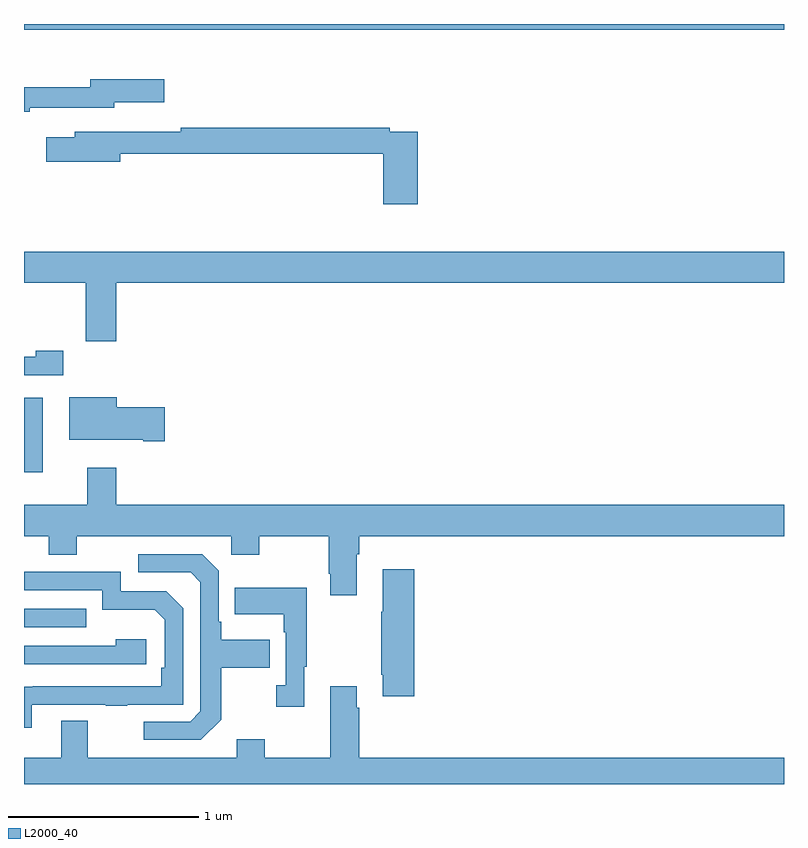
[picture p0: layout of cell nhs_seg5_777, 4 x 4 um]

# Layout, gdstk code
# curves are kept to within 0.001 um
import gdstk
lib = gdstk.Library(unit=1e-6, precision=1e-09)
def R(c, l, rs):  # rectangles x0, y0, x1, y1
    for r in rs: c.add(gdstk.rectangle(r[:2], r[2:], *l))
def P(c, l, *ps):  # polygons
    for p in ps: c.add(gdstk.Polygon(p, *l))
L2000_40 = (2000, 40)

nhs_seg5_777 = lib.new_cell('nhs_seg5_777')
R(nhs_seg5_777, L2000_40, [(161,845.625,161.327,845.721), (161,846.44,161.098,846.832), (161,848.768,165,848.799)])
P(nhs_seg5_777, L2000_40, [(161.03,848.358),(161.476,848.358),(161.476,848.387),(161.737,848.387),(161.737,848.509),(161.348,848.509),(161.348,848.467),(161,848.467),(161,848.338),(161.03,848.338)],
  [(163.073,848.232),(162.926,848.232),(162.926,848.252),(161.824,848.252),(161.824,848.233),(161.267,848.233),(161.267,848.203),(161.118,848.203),(161.118,848.074),(161.506,848.074),(161.506,848.116),(162.89,848.116),(162.89,847.851),(163.073,847.851)],
  [(161.486,847.436),(165,847.436),(165,847.6),(161,847.6),(161,847.436),(161.326,847.436),(161.326,847.128),(161.486,847.128)],
  [(161.206,847.08),(161.061,847.08),(161.061,847.047),(161,847.047),(161,846.951),(161.206,846.951)],
  [(161.74,846.782),(161.488,846.782),(161.488,846.835),(161.237,846.835),(161.237,846.611),(161.627,846.611),(161.627,846.604),(161.74,846.604)],
  [(162.751,846.008),(162.764,846.008),(162.764,846.104),(165,846.104),(165,846.268),(161.486,846.268),(161.486,846.463),(161.333,846.463),(161.333,846.268),(161,846.268),(161,846.104),(161.129,846.104),(161.129,846.005),(161.277,846.005),(161.277,846.104),(162.09,846.104),(162.09,846.005),(162.237,846.005),(162.237,846.104),(162.604,846.104),(162.604,845.905),(162.611,845.905),(162.611,845.793),(162.751,845.793)],
  [(162.037,845.137),(162.037,845.41),(162.293,845.41),(162.293,845.557),(162.037,845.557),(162.037,845.653),(162.024,845.653),(162.024,845.922),(161.937,846.009),(161.601,846.009),(161.601,845.913),(161.877,845.913),(161.928,845.862),(161.928,845.181),(161.874,845.127),(161.631,845.127),(161.631,845.031),(161.931,845.031)],
  [(163.055,845.929),(162.887,845.929),(162.887,845.705),(162.88,845.705),(162.88,845.374),(162.887,845.374),(162.887,845.262),(163.055,845.262)],
  [(161.041,845.217),(161.431,845.217),(161.431,845.212),(161.543,845.212),(161.543,845.217),(161.838,845.217),(161.838,845.724),(161.748,845.814),(161.508,845.814),(161.508,845.916),(161,845.916),(161,845.82),(161.412,845.82),(161.412,845.717),(161.689,845.717),(161.742,845.664),(161.742,845.41),(161.722,845.41),(161.722,845.313),(161,845.312),(161,845.094),(161.041,845.094)],
  [(162.475,845.417),(162.487,845.417),(162.487,845.833),(162.109,845.833),(162.109,845.693),(162.366,845.693),(162.366,845.597),(162.378,845.597),(162.378,845.318),(162.327,845.318),(162.327,845.205),(162.475,845.205)],
  [(161.644,845.56),(161.483,845.56),(161.483,845.526),(161,845.526),(161,845.43),(161.644,845.43)],
  [(165,844.936),(162.764,844.936),(162.764,845.201),(162.751,845.201),(162.751,845.314),(162.611,845.314),(162.611,844.936),(162.267,844.936),(162.267,845.035),(162.119,845.035),(162.119,844.936),(161.335,844.936),(161.335,845.131),(161.195,845.131),(161.195,844.936),(161,844.936),(161,844.799),(165,844.799)])

lib.write_gds('nhs_seg5_777.gds')
